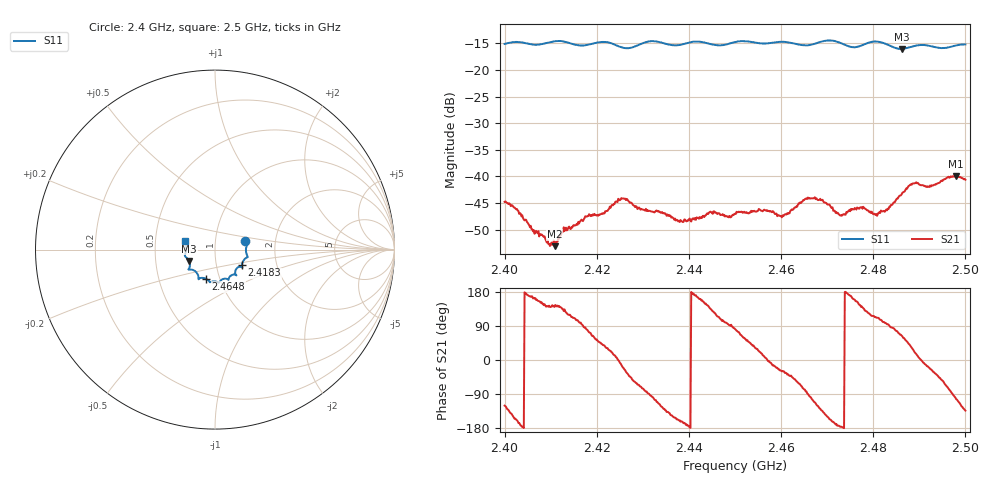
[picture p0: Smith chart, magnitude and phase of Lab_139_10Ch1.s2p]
# Hz S RI R 50
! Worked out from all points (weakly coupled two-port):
!   601 points, 2.4 GHz to 2.5 GHz, reference 50 ohm
!   highest |S21| = -39.93 dB at 2.498 GHz (marker M1); lowest = -53.1 dB at 2.4108 GHz (marker M2)
!   lowest |S11| = -16.1 dB at 2.4862 GHz (marker M3), VSWR 1.37, Z = 37.1 - j4.85 ohm
!   |S11| at or under -10 dB: start of sweep to end of sweep
!   S12 and S22 are empty: the file has one direction only
!   S11 on the Smith chart (normalised r, x): 2.4 GHz: 1.40, +0.13; 2.4183 GHz: 1.33, -0.24; 2.4648 GHz: 0.86, -0.29; 2.5 GHz: 0.71, +0.07
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2.4e9  0.1694 0.0457  -0.00292 -0.00497  0 0  0 0
2.4095e9  0.1778 -0.0315  -0.00178 0.00147  0 0  0 0
2.410833e9  0.1816 -0.0384  -0.0017 0.00141  0 0  0 0
2.412833e9  0.1799 -0.0429  -0.0021 0.00257  0 0  0 0
2.416667e9  0.1549 -0.0682  -0.000339 0.0039  0 0  0 0
2.418333e9  0.1498 -0.087  0.0013 0.00421  0 0  0 0
2.421167e9  0.1529 -0.1004  0.00335 0.003  0 0  0 0
2.425667e9  0.128 -0.0984  0.00582 -0.00208  0 0  0 0
2.433333e9  0.1176 -0.1409  -0.00193 -0.00432  0 0  0 0
2.438333e9  0.0805 -0.1524  -0.00363 -0.00119  0 0  0 0
2.445e9  0.062 -0.1619  -0.003 0.00346  0 0  0 0
2.45e9  0.0258 -0.1809  0.000644 0.00441  0 0  0 0
2.460167e9  -0.028 -0.1815  0.00357 -0.00206  0 0  0 0
2.464833e9  -0.0505 -0.1628  0.00151 -0.0058  0 0  0 0
2.466667e9  -0.0713 -0.1575  -0.00139 -0.00607  0 0  0 0
2.473e9  -0.0914 -0.153  -0.00429 -0.0003  0 0  0 0
2.483333e9  -0.1411 -0.0964  -0.000274 0.00493  0 0  0 0
2.486167e9  -0.144 -0.0636  0.00294 0.00612  0 0  0 0
2.488833e9  -0.1623 -0.042  0.00788 0.00344  0 0  0 0
2.492e9  -0.1667 -0.0283  0.00755 -0.0026  0 0  0 0
2.498e9  -0.166 0.0357  -0.00231 -0.00982  0 0  0 0
2.5e9  -0.1673 0.0464  -0.0064 -0.00674  0 0  0 0
